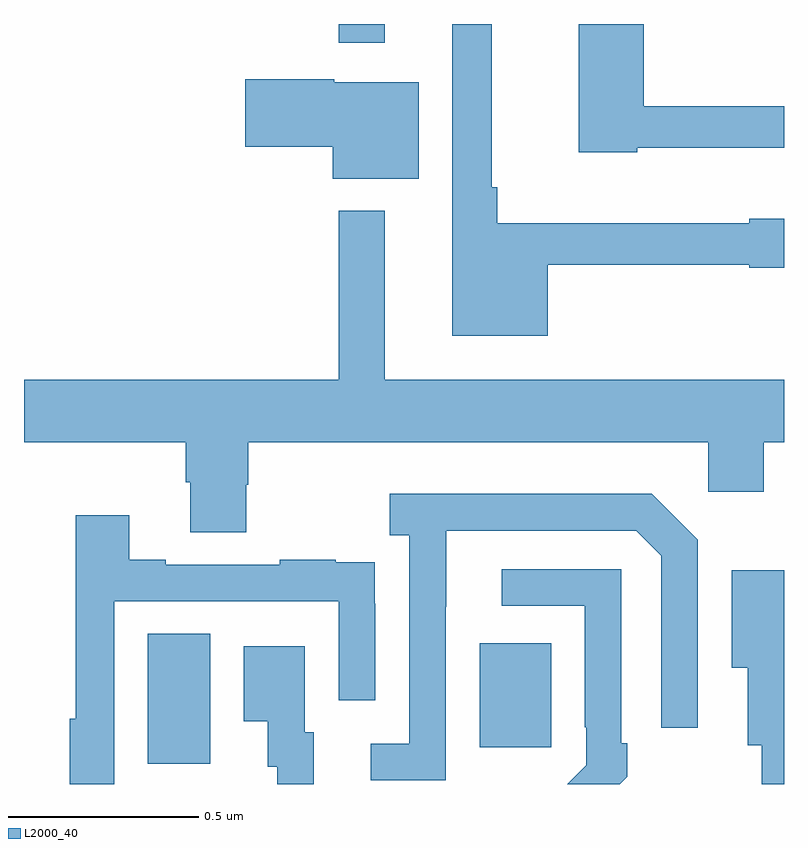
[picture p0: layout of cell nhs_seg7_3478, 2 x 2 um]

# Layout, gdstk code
import gdstk
lib = gdstk.Library(unit=1e-6, precision=1e-09)
def R(c, l, rs):  # rectangles x0, y0, x1, y1
    for r in rs: c.add(gdstk.rectangle(r[:2], r[2:], *l))
def P(c, l, *ps):  # polygons
    for p in ps: c.add(gdstk.Polygon(p, *l))
L2000_40 = (2000, 40)

nhs_seg7_3478 = lib.new_cell('nhs_seg7_3478')
R(nhs_seg7_3478, L2000_40, [(159.326,1049.053,159.49,1049.396), (160.199,1049.097,160.387,1049.371), (159.828,1050.951,159.949,1051)])
P(nhs_seg7_3478, L2000_40, [(160.378,1050.366),(160.908,1050.366),(160.908,1050.358),(161,1050.358),(161,1050.487),(160.908,1050.487),(160.908,1050.476),(160.246,1050.476),(160.246,1050.571),(160.231,1050.571),(160.231,1051),(160.127,1051),(160.127,1050.179),(160.378,1050.179)],
  [(160.614,1050.674),(161,1050.674),(161,1050.784),(160.631,1050.784),(160.631,1051),(160.46,1051),(160.46,1050.662),(160.614,1050.662)],
  [(160.039,1050.847),(159.816,1050.847),(159.816,1050.855),(159.582,1050.855),(159.582,1050.677),(159.812,1050.677),(159.812,1050.593),(160.039,1050.593)],
  [(159.585,1049.787),(159.59,1049.787),(159.59,1049.9),(160.8,1049.9),(160.8,1049.769),(160.947,1049.769),(160.947,1049.9),(161,1049.9),(161,1050.064),(159.949,1050.064),(159.949,1050.508),(159.828,1050.508),(159.828,1050.064),(159,1050.064),(159,1049.9),(159.425,1049.9),(159.425,1049.794),(159.437,1049.794),(159.437,1049.662),(159.585,1049.662)],
  [(160.11,1049.467),(160.111,1049.467),(160.111,1049.667),(160.611,1049.667),(160.677,1049.601),(160.677,1049.148),(160.773,1049.148),(160.773,1049.643),(160.652,1049.764),(159.963,1049.764),(159.963,1049.654),(160.014,1049.654),(160.014,1049.106),(159.912,1049.106),(159.912,1049.01),(160.11,1049.01)],
  [(159.237,1049.481),(159.828,1049.481),(159.828,1049.22),(159.924,1049.22),(159.924,1049.474),(159.923,1049.474),(159.923,1049.583),(159.821,1049.583),(159.821,1049.59),(159.673,1049.59),(159.673,1049.577),(159.373,1049.577),(159.373,1049.59),(159.277,1049.59),(159.277,1049.707),(159.136,1049.707),(159.136,1049.172),(159.121,1049.172),(159.121,1049),(159.237,1049)],
  [(160.587,1049.019),(160.587,1049.107),(160.572,1049.107),(160.572,1049.565),(160.257,1049.565),(160.257,1049.469),(160.476,1049.469),(160.476,1049.149),(160.479,1049.149),(160.479,1049.049),(160.43,1049),(160.568,1049)],
  [(161,1049.563),(160.862,1049.563),(160.862,1049.306),(160.904,1049.306),(160.904,1049.102),(160.941,1049.102),(160.941,1049),(161,1049)],
  [(159.763,1049.136),(159.739,1049.136),(159.739,1049.362),(159.578,1049.362),(159.578,1049.165),(159.641,1049.165),(159.641,1049.046),(159.666,1049.046),(159.666,1049),(159.763,1049)])

lib.write_gds('nhs_seg7_3478.gds')
